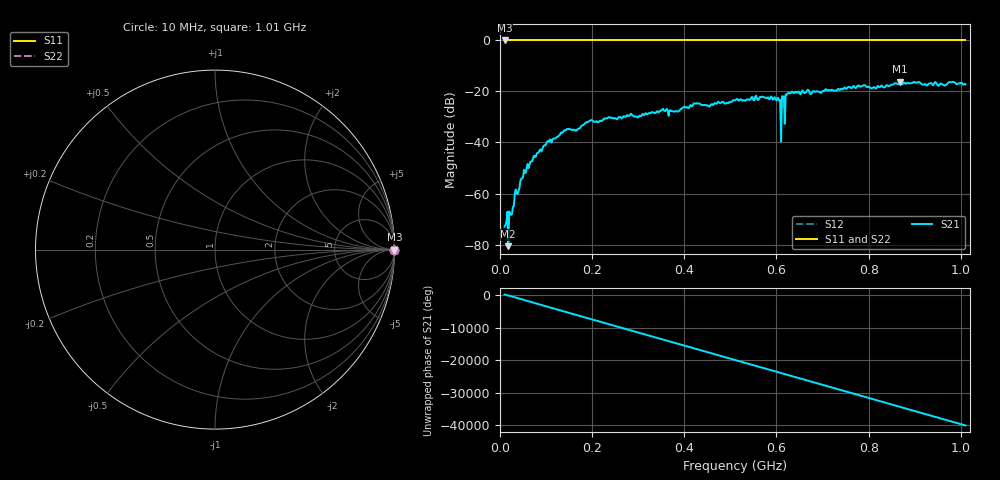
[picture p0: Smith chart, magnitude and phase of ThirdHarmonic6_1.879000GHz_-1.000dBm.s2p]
! 8/16/2025 10:42:20 PM
! C:\ANRITSUVNA\TEMP\TEMP.S2P
! CHANNEL.1
! TR.MEASUREMENT
! RAW.DATA
! RF.CORRECTION.OFF
! AVERAGING.OFF
! IF.BANDWIDTH: 5KHZ
! SWEEPTYPE:  FREQ.SWEEP(Linear)
! Reference Plane Port Info
! PORT:  PORT1  PORT2
! DISTANCE:  0  m  0  m
! TIME:  0  s  0  s
! PHASE.OFFSET:  0  deg.  0  deg.
! LOSS:  0  dB  0  dB
! REF.LOSS:  0  dB  0  dB
! REF.FREQ:  0  Hz  0  Hz
! Power Info
! POWER:  -20  dBm  -20  dBm
! EFF.POWER:  -20  dBm  -20  dBm
! SOURCE.ATTEN:  0  dB  0  dB
! TEST.ATTEN:  0  dB  0  dB
# GHZ S RI R 50.0
! FREQ.GHZ  S11RE  S11IM  S21RE  S21IM  S12RE  S12IM  S22RE  S22IM
!; PortSelection: Port_12
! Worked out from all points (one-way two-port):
!   501 points, 10 MHz to 1.01 GHz, reference 50 ohm
!   highest |S21| = -16.17 dB at 868 MHz (marker M1); lowest = -80.6 dB at 18 MHz (marker M2)
!   lowest |S11| = 0.0 dB at 10 MHz (marker M3)
!   |S11| at or under -10 dB: nowhere
!   |S22| runs from 0.0 to 0.0 dB; largest |S21 - S12| = 1.2
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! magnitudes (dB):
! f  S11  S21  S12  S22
! 10 MHz  0.0  -73.1  0.0  0.0
! 18 MHz  0.0  -80.6  0.0  0.0
! 22 MHz  0.0  -67.8  0.0  0.0
! 32 MHz  0.0  -60.3  0.0  0.0
! 48 MHz  0.0  -54.1  0.0  0.0
! 76 MHz  0.0  -45.7  0.0  0.0
! 136 MHz  0.0  -36.0  0.0  0.0
! 178 MHz  0.0  -33.3  0.0  0.0
! 344 MHz  0.0  -28.2  0.0  0.0
! 510 MHz  0.0  -23.5  0.0  0.0
! 600 MHz  0.0  -23.5  0.0  0.0
! 604 MHz  0.0  -22.6  0.0  0.0
! 606 MHz  0.0  -23.6  0.0  0.0
! 612 MHz  0.0  -21.9  0.0  0.0
! 614 MHz  0.0  -22.1  0.0  0.0
! 616 MHz  0.0  -21.9  0.0  0.0
! 622 MHz  0.0  -21.3  0.0  0.0
! 624 MHz  0.0  -20.9  0.0  0.0
! 678 MHz  0.0  -20.2  0.0  0.0
! 844 MHz  0.0  -18.0  0.0  0.0
! 868 MHz  0.0  -16.2  0.0  0.0
! 1.01 GHz  0.0  -17.2  0.0  0.0
